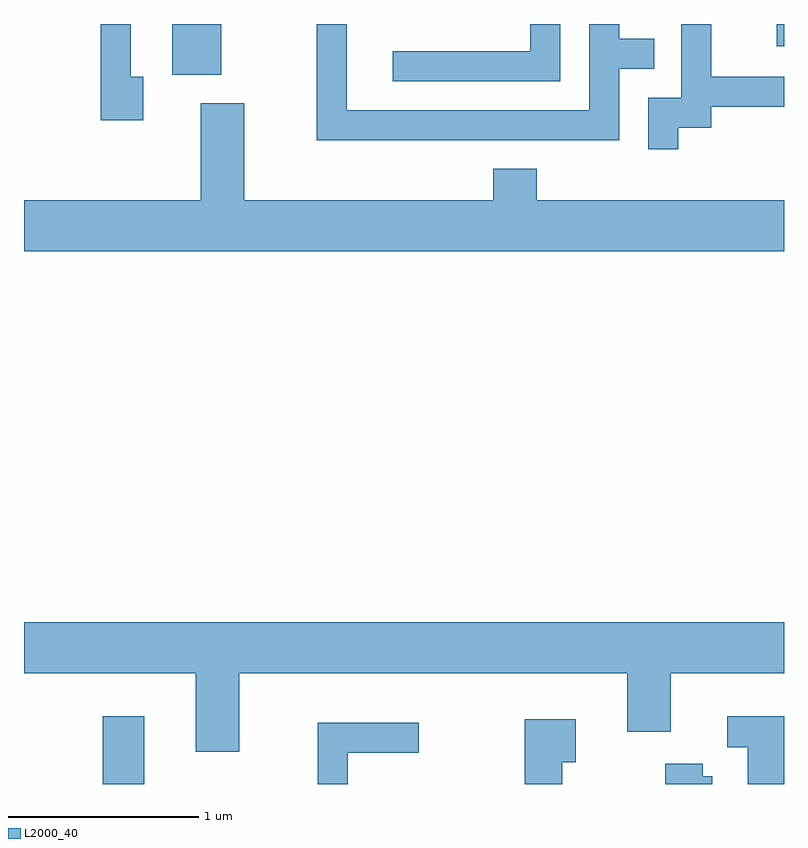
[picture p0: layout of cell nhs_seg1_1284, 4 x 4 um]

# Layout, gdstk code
import gdstk
lib = gdstk.Library(unit=1e-6, precision=1e-09)
def R(c, l, rs):  # rectangles x0, y0, x1, y1
    for r in rs: c.add(gdstk.rectangle(r[:2], r[2:], *l))
def P(c, l, *ps):  # polygons
    for p in ps: c.add(gdstk.Polygon(p, *l))
L2000_40 = (2000, 40)

nhs_seg1_1284 = lib.new_cell('nhs_seg1_1284')
R(nhs_seg1_1284, L2000_40, [(226.026,845.712,226.244,846.069), (226.391,849.446,226.649,849.712), (229.573,849.596,229.611,849.712)])
P(nhs_seg1_1284, L2000_40, [(226.239,849.434),(226.174,849.434),(226.174,849.712),(226.016,849.712),(226.016,849.206),(226.239,849.206)],
  [(228.434,849.712),(228.276,849.712),(228.276,849.569),(227.553,849.569),(227.553,849.411),(228.434,849.411)],
  [(228.744,849.476),(228.928,849.476),(228.928,849.634),(228.744,849.634),(228.744,849.712),(228.586,849.712),(228.586,849.259),(227.309,849.259),(227.309,849.712),(227.151,849.712),(227.151,849.101),(228.744,849.101)],
  [(229.054,849.166),(229.229,849.166),(229.229,849.276),(229.611,849.276),(229.611,849.434),(229.229,849.434),(229.229,849.712),(229.071,849.712),(229.071,849.324),(228.896,849.324),(228.896,849.053),(229.054,849.053)],
  [(229.611,848.784),(228.309,848.784),(228.309,848.949),(228.081,848.949),(228.081,848.784),(226.769,848.784),(226.769,849.294),(226.541,849.294),(226.541,848.784),(225.611,848.784),(225.611,848.516),(229.611,848.516)],
  [(226.744,846.296),(228.786,846.296),(228.786,845.986),(229.014,845.986),(229.014,846.296),(229.611,846.296),(229.611,846.564),(225.611,846.564),(225.611,846.296),(226.516,846.296),(226.516,845.881),(226.744,845.881)],
  [(229.611,846.069),(229.313,846.069),(229.313,845.906),(229.421,845.906),(229.421,845.712),(229.611,845.712)],
  [(228.444,845.826),(228.514,845.826),(228.514,846.054),(228.246,846.054),(228.246,845.712),(228.444,845.712)],
  [(227.314,845.876),(227.688,845.876),(227.688,846.034),(227.156,846.034),(227.156,845.712),(227.314,845.712)],
  [(229.234,845.754),(229.184,845.754),(229.184,845.819),(228.986,845.819),(228.986,845.712),(229.234,845.712)])

lib.write_gds('nhs_seg1_1284.gds')
